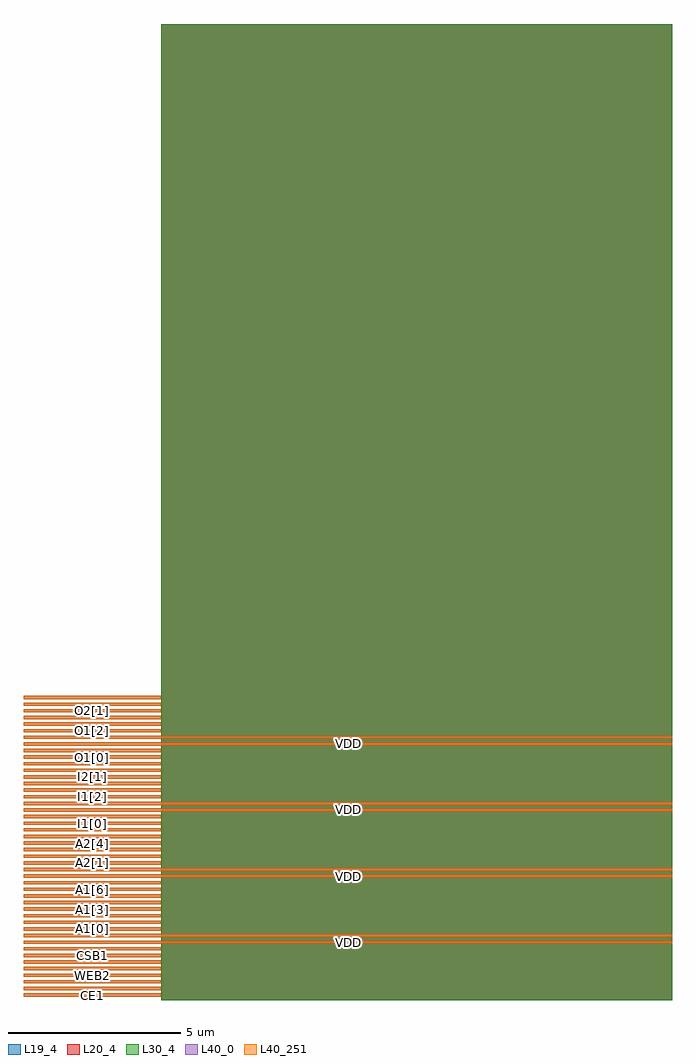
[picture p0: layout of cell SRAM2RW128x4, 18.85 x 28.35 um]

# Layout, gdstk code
import gdstk
lib = gdstk.Library(unit=1e-6, precision=1e-09)
def R(c, l, rs):  # rectangles x0, y0, x1, y1
    for r in rs: c.add(gdstk.rectangle(r[:2], r[2:], *l))
def A(c, l, x, y, w, h, nx, ny, dx, dy):  # array of equal rectangles
    R(c, l, [(x+i*dx, y+j*dy, x+i*dx+w, y+j*dy+h) for i in range(nx) for j in range(ny)])
L19_4 = (19, 4)
L20_4 = (20, 4)
L30_4 = (30, 4)
L40_0 = (40, 0)
L40_251 = (40, 251)

sram2rw128x4 = lib.new_cell('SRAM2RW128x4')
R(sram2rw128x4, L19_4, [(4,0,18.848,28.352)])
R(sram2rw128x4, L20_4, [(4,0,18.848,28.352)])
R(sram2rw128x4, L30_4, [(4,0,18.848,28.352)])
A(sram2rw128x4, L40_0, 0, 0.096, 4, 0.096, 1, 8, 0, 0.192)
A(sram2rw128x4, L40_0, 0, 2.016, 4, 0.096, 1, 8, 0, 0.192)
A(sram2rw128x4, L40_0, 0, 3.936, 4, 0.096, 1, 8, 0, 0.192)
A(sram2rw128x4, L40_0, 0, 5.856, 4, 0.096, 1, 8, 0, 0.192)
A(sram2rw128x4, L40_0, 0, 7.776, 4, 0.096, 1, 6, 0, 0.192)
R(sram2rw128x4, L40_0, [(0,1.632,18.848,1.728), (0,1.824,18.848,1.92), (0,3.552,18.848,3.648), (0,3.744,18.848,3.84), (0,5.472,18.848,5.568), (0,5.664,18.848,5.76), (0,7.392,18.848,7.488), (0,7.584,18.848,7.68)])
A(sram2rw128x4, L40_251, 0, 0.096, 4, 0.096, 1, 8, 0, 0.192)
A(sram2rw128x4, L40_251, 0, 2.016, 4, 0.096, 1, 8, 0, 0.192)
A(sram2rw128x4, L40_251, 0, 3.936, 4, 0.096, 1, 8, 0, 0.192)
A(sram2rw128x4, L40_251, 0, 5.856, 4, 0.096, 1, 8, 0, 0.192)
A(sram2rw128x4, L40_251, 0, 7.776, 4, 0.096, 1, 6, 0, 0.192)
R(sram2rw128x4, L40_251, [(0,1.632,18.848,1.728), (0,1.824,18.848,1.92), (0,3.552,18.848,3.648), (0,3.744,18.848,3.84), (0,5.472,18.848,5.568), (0,5.664,18.848,5.76), (0,7.392,18.848,7.488), (0,7.584,18.848,7.68)])
sram2rw128x4.add(gdstk.Label('CE1', (2,0.144), layer=40, texttype=0))
sram2rw128x4.add(gdstk.Label('CE2', (2,0.336), layer=40, texttype=0))
sram2rw128x4.add(gdstk.Label('WEB1', (2,0.528), layer=40, texttype=0))
sram2rw128x4.add(gdstk.Label('WEB2', (2,0.72), layer=40, texttype=0))
sram2rw128x4.add(gdstk.Label('OEB1', (2,0.912), layer=40, texttype=0))
sram2rw128x4.add(gdstk.Label('OEB2', (2,1.104), layer=40, texttype=0))
sram2rw128x4.add(gdstk.Label('CSB1', (2,1.296), layer=40, texttype=0))
sram2rw128x4.add(gdstk.Label('CSB2', (2,1.488), layer=40, texttype=0))
sram2rw128x4.add(gdstk.Label('A1[0]', (2,2.064), layer=40, texttype=0))
sram2rw128x4.add(gdstk.Label('A1[1]', (2,2.256), layer=40, texttype=0))
sram2rw128x4.add(gdstk.Label('A1[2]', (2,2.448), layer=40, texttype=0))
sram2rw128x4.add(gdstk.Label('A1[3]', (2,2.64), layer=40, texttype=0))
sram2rw128x4.add(gdstk.Label('A1[4]', (2,2.832), layer=40, texttype=0))
sram2rw128x4.add(gdstk.Label('A1[5]', (2,3.024), layer=40, texttype=0))
sram2rw128x4.add(gdstk.Label('A1[6]', (2,3.216), layer=40, texttype=0))
sram2rw128x4.add(gdstk.Label('A2[0]', (2,3.408), layer=40, texttype=0))
sram2rw128x4.add(gdstk.Label('A2[1]', (2,3.984), layer=40, texttype=0))
sram2rw128x4.add(gdstk.Label('A2[2]', (2,4.176), layer=40, texttype=0))
sram2rw128x4.add(gdstk.Label('A2[3]', (2,4.368), layer=40, texttype=0))
sram2rw128x4.add(gdstk.Label('A2[4]', (2,4.56), layer=40, texttype=0))
sram2rw128x4.add(gdstk.Label('A2[5]', (2,4.752), layer=40, texttype=0))
sram2rw128x4.add(gdstk.Label('A2[6]', (2,4.944), layer=40, texttype=0))
sram2rw128x4.add(gdstk.Label('I1[0]', (2,5.136), layer=40, texttype=0))
sram2rw128x4.add(gdstk.Label('I1[1]', (2,5.328), layer=40, texttype=0))
sram2rw128x4.add(gdstk.Label('I1[2]', (2,5.904), layer=40, texttype=0))
sram2rw128x4.add(gdstk.Label('I1[3]', (2,6.096), layer=40, texttype=0))
sram2rw128x4.add(gdstk.Label('I2[0]', (2,6.288), layer=40, texttype=0))
sram2rw128x4.add(gdstk.Label('I2[1]', (2,6.48), layer=40, texttype=0))
sram2rw128x4.add(gdstk.Label('I2[2]', (2,6.672), layer=40, texttype=0))
sram2rw128x4.add(gdstk.Label('I2[3]', (2,6.864), layer=40, texttype=0))
sram2rw128x4.add(gdstk.Label('O1[0]', (2,7.056), layer=40, texttype=0))
sram2rw128x4.add(gdstk.Label('O1[1]', (2,7.248), layer=40, texttype=0))
sram2rw128x4.add(gdstk.Label('O1[2]', (2,7.824), layer=40, texttype=0))
sram2rw128x4.add(gdstk.Label('O1[3]', (2,8.016), layer=40, texttype=0))
sram2rw128x4.add(gdstk.Label('O2[0]', (2,8.208), layer=40, texttype=0))
sram2rw128x4.add(gdstk.Label('O2[1]', (2,8.4), layer=40, texttype=0))
sram2rw128x4.add(gdstk.Label('O2[2]', (2,8.592), layer=40, texttype=0))
sram2rw128x4.add(gdstk.Label('O2[3]', (2,8.784), layer=40, texttype=0))
sram2rw128x4.add(gdstk.Label('VDD', (9.424,1.68), layer=40, texttype=0))
sram2rw128x4.add(gdstk.Label('VDD', (9.424,3.6), layer=40, texttype=0))
sram2rw128x4.add(gdstk.Label('VDD', (9.424,5.52), layer=40, texttype=0))
sram2rw128x4.add(gdstk.Label('VDD', (9.424,7.44), layer=40, texttype=0))
sram2rw128x4.add(gdstk.Label('VSS', (9.424,1.872), layer=40, texttype=0))
sram2rw128x4.add(gdstk.Label('VSS', (9.424,3.792), layer=40, texttype=0))
sram2rw128x4.add(gdstk.Label('VSS', (9.424,5.712), layer=40, texttype=0))
sram2rw128x4.add(gdstk.Label('VSS', (9.424,7.632), layer=40, texttype=0))

lib.write_gds('SRAM2RW128x4.gds')
